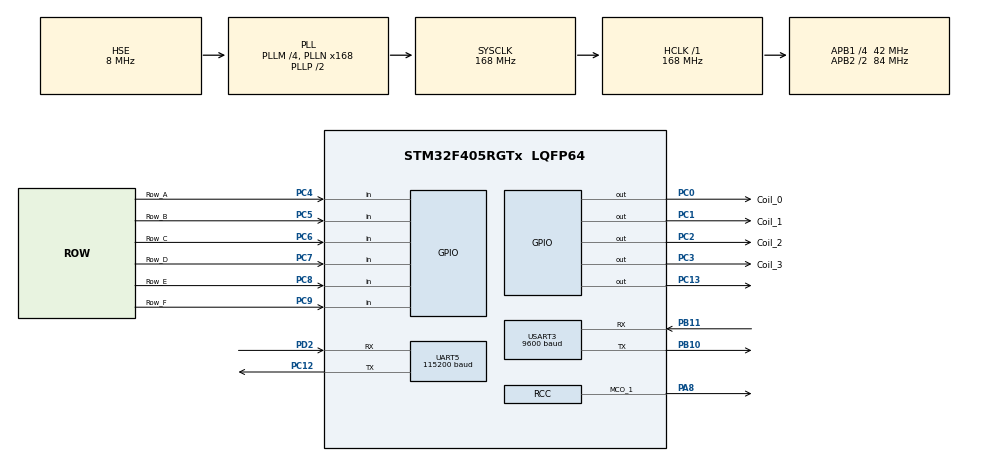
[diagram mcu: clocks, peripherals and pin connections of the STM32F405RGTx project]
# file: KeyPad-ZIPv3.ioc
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FREERTOS.Tasks01=defaultTask,24,128,StartDefaultTask,Default,NULL,Dynamic,NULL,NULL;myLamp,24,128,StartLamp,Default,NULL,Dynamic,NULL,NULL;myBtnScan,24,128,StartBtnScan,Default,NULL,Dynamic,NULL,NULL
Mcu.Family=STM32F4
Mcu.Name=STM32F405RGTx
Mcu.Package=LQFP64
NVIC.PriorityGroup=NVIC_PRIORITYGROUP_4
NVIC.TIM2_IRQn=true\:15\:0\:false\:false\:true\:false\:false\:true\:true
NVIC.TIM3_IRQn=true\:5\:0\:false\:false\:true\:true\:true\:true\:true
NVIC.TIM5_IRQn=true\:5\:0\:false\:false\:true\:true\:true\:true\:true
NVIC.TimeBase=TIM2_IRQn
NVIC.TimeBaseIP=TIM2
NVIC.UART5_IRQn=true\:5\:0\:false\:false\:true\:true\:true\:true\:true
PA8.Mode=Clock-out-1
PA8.Signal=RCC_MCO_1
PB10.Mode=Asynchronous
PB10.Signal=USART3_TX
PB11.Mode=Asynchronous
PB11.Signal=USART3_RX
PC0.GPIO_Label=Coil_0
PC0.GPIO_Speed=GPIO_SPEED_FREQ_MEDIUM
PC0.Signal=GPIO_Output
PC1.GPIO_Label=Coil_1
PC1.GPIO_Speed=GPIO_SPEED_FREQ_MEDIUM
PC1.Signal=GPIO_Output
PC12.Mode=Asynchronous
PC12.Signal=UART5_TX
PC13-ANTI_TAMP.GPIO_ModeDefaultOutputPP=GPIO_MODE_OUTPUT_PP
PC13-ANTI_TAMP.GPIO_Speed=GPIO_SPEED_FREQ_LOW
PC13-ANTI_TAMP.PinState=GPIO_PIN_RESET
PC13-ANTI_TAMP.Signal=GPIO_Output
PC2.GPIO_Label=Coil_2
PC2.GPIO_Speed=GPIO_SPEED_FREQ_MEDIUM
PC2.Signal=GPIO_Output
PC3.GPIO_Label=Coil_3
PC3.GPIO_Speed=GPIO_SPEED_FREQ_MEDIUM
PC3.Signal=GPIO_Output
PC4.GPIO_Label=Row_A
PC4.GPIO_PuPd=GPIO_PULLDOWN
PC4.Signal=GPIO_Input
PC5.GPIO_Label=Row_B
PC5.GPIO_PuPd=GPIO_PULLDOWN
PC5.Signal=GPIO_Input
PC6.GPIO_Label=Row_C
PC6.GPIO_PuPd=GPIO_PULLDOWN
PC6.Signal=GPIO_Input
PC7.GPIO_Label=Row_D
PC7.GPIO_PuPd=GPIO_PULLDOWN
PC7.Signal=GPIO_Input
PC8.GPIO_Label=Row_E
PC8.GPIO_PuPd=GPIO_PULLDOWN
PC8.Signal=GPIO_Input
PC9.GPIO_Label=Row_F
PC9.GPIO_PuPd=GPIO_PULLDOWN
PC9.Signal=GPIO_Input
PD2.Mode=Asynchronous
PD2.Signal=UART5_RX
PH0-OSC_IN.Mode=HSE-External-Oscillator
PH0-OSC_IN.Signal=RCC_OSC_IN
PH1-OSC_OUT.Mode=HSE-External-Oscillator
PH1-OSC_OUT.Signal=RCC_OSC_OUT
ProjectManager.HeapSize=0x200
ProjectManager.StackSize=0x400
ProjectManager.TargetToolchain=Makefile
RCC.48MHZClocksFreq_Value=84000000
RCC.AHBFreq_Value=168000000
RCC.APB1CLKDivider=RCC_HCLK_DIV4
RCC.APB1Freq_Value=42000000
RCC.APB1TimFreq_Value=84000000
RCC.APB2CLKDivider=RCC_HCLK_DIV2
RCC.APB2Freq_Value=84000000
RCC.APB2TimFreq_Value=168000000
RCC.CortexFreq_Value=168000000
RCC.HCLKFreq_Value=168000000
RCC.HSE_VALUE=8000000
RCC.HSI_VALUE=16000000
RCC.LSE_VALUE=32768
RCC.PLLM=4
RCC.PLLN=168
RCC.PLLSourceVirtual=RCC_PLLSOURCE_HSE
RCC.RCC_MCO1Source=RCC_MCO1SOURCE_HSE
RCC.RCC_MCODiv1=RCC_MCODIV_4
RCC.SYSCLKFreq_VALUE=168000000
RCC.SYSCLKSource=RCC_SYSCLKSOURCE_PLLCLK
RCC.VCOOutputFreq_Value=336000000
TIM3.Period=50000
TIM3.Prescaler=1679
TIM5.Period=1000
TIM5.Prescaler=1679
UART5.BaudRate=115200
UART5.VirtualMode=Asynchronous
USART3.BaudRate=9600
USART3.VirtualMode=VM_ASYNC
VP_FREERTOS_VS_CMSIS_V2.Mode=CMSIS_V2
VP_SYS_VS_tim2.Mode=TIM2
VP_TIM3_VS_ClockSourceINT.Mode=Internal
VP_TIM5_VS_ClockSourceINT.Mode=Internal
board=custom

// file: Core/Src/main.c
/* USER CODE BEGIN Header */
/**
  ******************************************************************************
  * @file           : main.c
  * @brief          : Main program body
  ******************************************************************************
  * @attention
  *
  * Copyright (c) 2024 STMicroelectronics.
  * All rights reserved.
  *
  * This software is licensed under terms that can be found in the LICENSE file
  * in the root directory of this software component.
  * If no LICENSE file comes with this software, it is provided AS-IS.
  *
  ******************************************************************************
  */
/* USER CODE END Header */
#include "main.h"
#include <stdbool.h>
#include <stdio.h>
#include "cmsis_os.h"
#include "DWIN_menu_logic.c"

/* USER CODE BEGIN PD */
// KeyPad-ZIP user LED (PC13)
#define LED_PORT    GPIOC
#define LED_PIN     GPIO_PIN_13
// Rows defines
#define ROWS_PORT   GPIOC
#define ROWS_PINS   6
//#define ROW_A_PIN   GPIO_PIN_4
//#define ROW_B_PIN   GPIO_PIN_5
//#define ROW_C_PIN   GPIO_PIN_6
//#define ROW_D_PIN   GPIO_PIN_7
//#define ROW_E_PIN   GPIO_PIN_8
//#define ROW_F_PIN   GPIO_PIN_9
// Columns defines
#define COLS_PORT   GPIOC
#define COLS_PINS   4
//#define COL1_PIN    GPIO_PIN_0
//#define COL2_PIN    GPIO_PIN_1
//#define COL3_PIN    GPIO_PIN_2
//#define COL4_PIN    GPIO_PIN_3

#define LED_PORT_CLK_ENABLE   __HAL_RCC_GPIOC_CLK_ENABLE
#define ROWS_PORT_CLK_ENABLE  __HAL_RCC_GPIOC_CLK_ENABLE
#define COLS_PORT_CLK_ENABLE  __HAL_RCC_GPIOC_CLK_ENABLE
#define LED_CLK_TICKS   500 //BIG LAMP Togle pin timeout in milliseconds

#define PROGRAM_LOG_LEVEL_NO  0
#define PROGRAM_LOG_LEVEL_MED 1
#define PROGRAM_LOG_LEVEL_MAX 2
const uint8_t currentLogLevel = 0;

// Keypad Dimension
const uint8_t ROWS = ROWS_PINS; // Realy I need this? :))
const uint8_t COLS = COLS_PINS; // Realy I need this? :))
const uint8_t KeyPushedErrorTicksCount = 3; // contact error ticks counter (must be 2 .. 255)
const uint8_t KeypadScanPeriod = 10; // Period of Keypad Scaning (in miliseconds)

volatile uint8_t counterCOLS  = 0;
volatile uint8_t PinSCode     = 0;    // Pin Pad Scan Code
// Cycles counter for each key
volatile uint8_t CountKeys[ROWS_PINS][COLS_PINS] = {{0, 0, 0, 0}, {0, 0, 0, 0}, {0, 0, 0, 0}, {0, 0, 0, 0}, {0, 0, 0, 0}, {0, 0, 0, 0}};

// Scan (char) codes array
const char ScanKeys[ROWS_PINS][COLS_PINS] = {
  { '#', '9', '6', '3' },
  { '0', '8', '5', '2' },
  { '*', '7', '4', '1' },
  { 'R', 'q', 'U', 'D' },
  { 'Q', 'L', 'e', 'd' },
  { 'c', 'b', 'a', 'd' }
};
// just scanned Key
char Key_Pushed ='.';
bool Key_Obtained = true;
bool Mode_Measuring = false;
bool Mode_Measuring_AUTO = true;

/* for DWIN
#define REQUEST_FRAME_BUFFER 7
#define WRITE_FRAME_BUFFER 8
#define READ_FRAME_BUFFER_DEFAULT 9
*/

/* USER CODE END PD */

TIM_HandleTypeDef htim3;
TIM_HandleTypeDef htim5;

UART_HandleTypeDef huart5;
UART_HandleTypeDef huart3;

/* Definitions for defaultTask */
osThreadId_t defaultTaskHandle;
const osThreadAttr_t defaultTask_attributes = {
  .name = "defaultTask",
  .stack_size = 128 * 4,
  .priority = (osPriority_t) osPriorityNormal,
};
/* Definitions for myLamp */
osThreadId_t myLampHandle;
const osThreadAttr_t myLamp_attributes = {
  .name = "myLamp",
  .stack_size = 128 * 4,
  .priority = (osPriority_t) osPriorityNormal,
};
/* Definitions for myBtnScan */
osThreadId_t myBtnScanHandle;
const osThreadAttr_t myBtnScan_attributes = {
  .name = "myBtnScan",
  .stack_size = 128 * 4,
  .priority = (osPriority_t) osPriorityNormal,
};

void SystemClock_Config(void);
static void MX_GPIO_Init(void);
static void MX_USART3_UART_Init(void);
static void MX_UART5_Init(void);
static void MX_TIM3_Init(void);
static void MX_TIM5_Init(void);
void StartDefaultTask(void *argument);
void StartLamp(void *argument);
void StartBtnScan(void *argument);

/* USER CODE BEGIN PFP */
void KeyPad_Init(void);
void TimerCallScan (void);
void ReadRows (uint8_t ColIndex);
void DeCodePushedRow (uint8_t PushedRow, uint8_t Col);
void DeCodeReleasedRow (uint8_t ReleasedRow, uint8_t Col);

// void DWIN_setPage(uint8_t pageID);
// uint8_t DWIN_getPage();

/* USER CODE END PFP */

int main(void)
{
  /* USER CODE BEGIN 1 */
  uint8_t frame8[WRITE_FRAME_BUFFER] = { 0x5A, 0xA5, 0x05, 0x82, 0x50, 0x01, 0x00, 0x00};
  uint8_t frame8_length = WRITE_FRAME_BUFFER;
  uint8_t REQ_frame[REQUEST_FRAME_BUFFER] = { 0x5A, 0xA5, 0x04, 0x83, 0x51, 0x03, 0x01};
  uint8_t REQ_frame_length = REQUEST_FRAME_BUFFER;
  uint8_t READ_frame[READ_FRAME_BUFFER_DEFAULT] = { 0, 0, 0, 0, 0x00, 0x00, 0, 0x00, 0x00};
  uint8_t READ_frame_length = READ_FRAME_BUFFER_DEFAULT;
  //const uint16_t DWIN_Slider = 0x5103;
  //REQ_frame[4] = DWIN_Slider;
  /* USER CODE END 1 */

  /* MCU Configuration--------------------------------------------------------*/

  /* Reset of all peripherals, Initializes the Flash interface and the Systick. */
  HAL_Init();

  /* Configure the system clock */
  SystemClock_Config();

  /* Initialize all configured peripherals */
  MX_GPIO_Init();
  MX_USART3_UART_Init();
  MX_UART5_Init();
  MX_TIM3_Init();
  MX_TIM5_Init();
  /* USER CODE BEGIN 2 */
  //HAL_GPIO_TogglePin(LED_PORT, LED_PIN);
  HAL_TIM_Base_Start_IT(&htim3);
  KeyPad_Init();

  HAL_UART_Transmit(&huart5, (uint8_t*)frame8, frame8_length, 100);
  HAL_Delay(1000);

  printf("Hello, %s!\n", "KeyPad");
  HAL_Delay(100);
  printf("For messages we using, %s\n", "USART3");
  HAL_Delay(2000);
  DWIN_Menu_Logic_InitProcedure();

  /* USER CODE END 2 */

  /* Init scheduler */
  osKernelInitialize();

  /* Create the thread(s) */
  /* creation of defaultTask */
  defaultTaskHandle = osThreadNew(StartDefaultTask, NULL, &defaultTask_attributes);

  /* creation of myLamp */
  myLampHandle = osThreadNew(StartLamp, NULL, &myLamp_attributes);

  /* creation of myBtnScan */
  myBtnScanHandle = osThreadNew(StartBtnScan, NULL, &myBtnScan_attributes);

  /* Start scheduler */
  osKernelStart();

  /* We should never get here as control is now taken by the scheduler */
  /* Infinite loop */
  while (1)
  {

  }
}

void SystemClock_Config(void)
{
  RCC_OscInitTypeDef RCC_OscInitStruct = {0};
  RCC_ClkInitTypeDef RCC_ClkInitStruct = {0};

  /** Configure the main internal regulator output voltage
  */
  __HAL_RCC_PWR_CLK_ENABLE();
  __HAL_PWR_VOLTAGESCALING_CONFIG(PWR_REGULATOR_VOLTAGE_SCALE1);

  /** Initializes the RCC Oscillators according to the specified parameters
  * in the RCC_OscInitTypeDef structure.
  */
  RCC_OscInitStruct.OscillatorType = RCC_OSCILLATORTYPE_HSE;
  RCC_OscInitStruct.HSEState = RCC_HSE_ON;
  RCC_OscInitStruct.PLL.PLLState = RCC_PLL_ON;
  RCC_OscInitStruct.PLL.PLLSource = RCC_PLLSOURCE_HSE;
  RCC_OscInitStruct.PLL.PLLM = 4;
  RCC_OscInitStruct.PLL.PLLN = 168;
  RCC_OscInitStruct.PLL.PLLP = RCC_PLLP_DIV2;
  RCC_OscInitStruct.PLL.PLLQ = 4;
  if (HAL_RCC_OscConfig(&RCC_OscInitStruct) != HAL_OK)
  {
    Error_Handler();
  }

  /** Initializes the CPU, AHB and APB buses clocks
  */
  RCC_ClkInitStruct.ClockType = RCC_CLOCKTYPE_HCLK|RCC_CLOCKTYPE_SYSCLK
                              |RCC_CLOCKTYPE_PCLK1|RCC_CLOCKTYPE_PCLK2;
  RCC_ClkInitStruct.SYSCLKSource = RCC_SYSCLKSOURCE_PLLCLK;
  RCC_ClkInitStruct.AHBCLKDivider = RCC_SYSCLK_DIV1;
  RCC_ClkInitStruct.APB1CLKDivider = RCC_HCLK_DIV4;
  RCC_ClkInitStruct.APB2CLKDivider = RCC_HCLK_DIV2;

  if (HAL_RCC_ClockConfig(&RCC_ClkInitStruct, FLASH_LATENCY_5) != HAL_OK)
  {
    Error_Handler();
  }
  HAL_RCC_MCOConfig(RCC_MCO1, RCC_MCO1SOURCE_HSE, RCC_MCODIV_4);
}

static void MX_TIM3_Init(void)
{

  TIM_ClockConfigTypeDef sClockSourceConfig = {0};
  TIM_MasterConfigTypeDef sMasterConfig = {0};

  htim3.Instance = TIM3;
  htim3.Init.Prescaler = 1679;
  htim3.Init.CounterMode = TIM_COUNTERMODE_UP;
  htim3.Init.Period = 50000;
  htim3.Init.ClockDivision = TIM_CLOCKDIVISION_DIV1;
  htim3.Init.AutoReloadPreload = TIM_AUTORELOAD_PRELOAD_DISABLE;
  if (HAL_TIM_Base_Init(&htim3) != HAL_OK)
  {
    Error_Handler();
  }
  sClockSourceConfig.ClockSource = TIM_CLOCKSOURCE_INTERNAL;
  if (HAL_TIM_ConfigClockSource(&htim3, &sClockSourceConfig) != HAL_OK)
  {
    Error_Handler();
  }
  sMasterConfig.MasterOutputTrigger = TIM_TRGO_RESET;
  sMasterConfig.MasterSlaveMode = TIM_MASTERSLAVEMODE_DISABLE;
  if (HAL_TIMEx_MasterConfigSynchronization(&htim3, &sMasterConfig) != HAL_OK)
  {
    Error_Handler();
  }

}

static void MX_TIM5_Init(void)
{

  TIM_ClockConfigTypeDef sClockSourceConfig = {0};
  TIM_MasterConfigTypeDef sMasterConfig = {0};

  htim5.Instance = TIM5;
  htim5.Init.Prescaler = 1679;
  htim5.Init.CounterMode = TIM_COUNTERMODE_UP;
  htim5.Init.Period = 1000;
  htim5.Init.ClockDivision = TIM_CLOCKDIVISION_DIV1;
  htim5.Init.AutoReloadPreload = TIM_AUTORELOAD_PRELOAD_DISABLE;
  if (HAL_TIM_Base_Init(&htim5) != HAL_OK)
  {
    Error_Handler();
  }
  sClockSourceConfig.ClockSource = TIM_CLOCKSOURCE_INTERNAL;
  if (HAL_TIM_ConfigClockSource(&htim5, &sClockSourceConfig) != HAL_OK)
  {
    Error_Handler();
  }
  sMasterConfig.MasterOutputTrigger = TIM_TRGO_RESET;
  sMasterConfig.MasterSlaveMode = TIM_MASTERSLAVEMODE_DISABLE;
  if (HAL_TIMEx_MasterConfigSynchronization(&htim5, &sMasterConfig) != HAL_OK)
  {
    Error_Handler();
  }

}

static void MX_UART5_Init(void)
{

  huart5.Instance = UART5;
  huart5.Init.BaudRate = 115200;
  huart5.Init.WordLength = UART_WORDLENGTH_8B;
  huart5.Init.StopBits = UART_STOPBITS_1;
  huart5.Init.Parity = UART_PARITY_NONE;
  huart5.Init.Mode = UART_MODE_TX_RX;
  huart5.Init.HwFlowCtl = UART_HWCONTROL_NONE;
  huart5.Init.OverSampling = UART_OVERSAMPLING_16;
  if (HAL_UART_Init(&huart5) != HAL_OK)
  {
    Error_Handler();
  }

}

static void MX_USART3_UART_Init(void)
{

  huart3.Instance = USART3;
  huart3.Init.BaudRate = 9600;
  huart3.Init.WordLength = UART_WORDLENGTH_8B;
  huart3.Init.StopBits = UART_STOPBITS_1;
  huart3.Init.Parity = UART_PARITY_NONE;
  huart3.Init.Mode = UART_MODE_TX_RX;
  huart3.Init.HwFlowCtl = UART_HWCONTROL_NONE;
  huart3.Init.OverSampling = UART_OVERSAMPLING_16;
  if (HAL_UART_Init(&huart3) != HAL_OK)
  {
    Error_Handler();
  }

}

static void MX_GPIO_Init(void)
{
  GPIO_InitTypeDef GPIO_InitStruct = {0};

  /* GPIO Ports Clock Enable */
  __HAL_RCC_GPIOC_CLK_ENABLE();
  __HAL_RCC_GPIOH_CLK_ENABLE();
  __HAL_RCC_GPIOB_CLK_ENABLE();
  __HAL_RCC_GPIOA_CLK_ENABLE();
  __HAL_RCC_GPIOD_CLK_ENABLE();

  /*Configure GPIO pin Output Level */
  HAL_GPIO_WritePin(GPIOC, GPIO_PIN_13|Coil_0_Pin|Coil_1_Pin|Coil_2_Pin
                          |Coil_3_Pin, GPIO_PIN_RESET);

  /*Configure GPIO pin : PC13 */
  GPIO_InitStruct.Pin = GPIO_PIN_13;
  GPIO_InitStruct.Mode = GPIO_MODE_OUTPUT_PP;
  GPIO_InitStruct.Pull = GPIO_NOPULL;
  GPIO_InitStruct.Speed = GPIO_SPEED_FREQ_LOW;
  HAL_GPIO_Init(GPIOC, &GPIO_InitStruct);

  /*Configure GPIO pins : Coil_0_Pin Coil_1_Pin Coil_2_Pin Coil_3_Pin */
  GPIO_InitStruct.Pin = Coil_0_Pin|Coil_1_Pin|Coil_2_Pin|Coil_3_Pin;
  GPIO_InitStruct.Mode = GPIO_MODE_OUTPUT_PP;
  GPIO_InitStruct.Pull = GPIO_NOPULL;
  GPIO_InitStruct.Speed = GPIO_SPEED_FREQ_MEDIUM;
  HAL_GPIO_Init(GPIOC, &GPIO_InitStruct);

  /*Configure GPIO pins : Row_A_Pin Row_B_Pin Row_C_Pin Row_D_Pin
                           Row_E_Pin Row_F_Pin */
  GPIO_InitStruct.Pin = Row_A_Pin|Row_B_Pin|Row_C_Pin|Row_D_Pin
                          |Row_E_Pin|Row_F_Pin;
  GPIO_InitStruct.Mode = GPIO_MODE_INPUT;
  GPIO_InitStruct.Pull = GPIO_PULLDOWN;
  HAL_GPIO_Init(GPIOC, &GPIO_InitStruct);

  /*Configure GPIO pin : PA8 */
  GPIO_InitStruct.Pin = GPIO_PIN_8;
  GPIO_InitStruct.Mode = GPIO_MODE_AF_PP;
  GPIO_InitStruct.Pull = GPIO_NOPULL;
  GPIO_InitStruct.Speed = GPIO_SPEED_FREQ_LOW;
  GPIO_InitStruct.Alternate = GPIO_AF0_MCO;
  HAL_GPIO_Init(GPIOA, &GPIO_InitStruct);

}

/* USER CODE BEGIN 4 */

void DeCodePushedRow (uint8_t PushedRow, uint8_t Col){
  if (CountKeys[PushedRow][Col] < KeyPushedErrorTicksCount){
    // We desided that this key is pushed enough
//    printf("Pushed Pin on Col:%u, Row:%u, Value:%c\n", Col, PushedRow, ScanKeys[PushedRow][Col]);
    CountKeys[PushedRow][Col]++;
  };
}

void DeCodeReleasedRow (uint8_t ReleasedRow, uint8_t Col){
  if (CountKeys[ReleasedRow][Col] >= KeyPushedErrorTicksCount){
    Key_Pushed = ScanKeys[ReleasedRow][Col];
    Key_Obtained = false;
    switch (currentLogLevel)
    {
    case PROGRAM_LOG_LEVEL_MED:
      printf("Pushed '%c'.\n", ScanKeys[ReleasedRow][Col]);
      osDelay(20);
      break;
    case PROGRAM_LOG_LEVEL_MAX:
      printf("Pushed '%c' on Col:%u, Row:%u.\n", ScanKeys[ReleasedRow][Col], Col, ReleasedRow);
      osDelay(70);
      break;
    default:
      break;
    }
  };
  CountKeys[ReleasedRow][Col]=0;
}

void ReadRows (uint8_t ColIndex){

  // Read ALL Rows and check for pushed or relased condition
  if( HAL_GPIO_ReadPin(ROWS_PORT, Row_A_Pin) == GPIO_PIN_SET ){
    DeCodePushedRow(0,ColIndex);
  } else DeCodeReleasedRow(0,ColIndex);
  if( HAL_GPIO_ReadPin(ROWS_PORT, Row_B_Pin) == GPIO_PIN_SET ){
    DeCodePushedRow(1,ColIndex);
  } else DeCodeReleasedRow(1,ColIndex);
  if( HAL_GPIO_ReadPin(ROWS_PORT, Row_C_Pin) == GPIO_PIN_SET ){
    DeCodePushedRow(2,ColIndex);
  } else DeCodeReleasedRow(2,ColIndex);
  if( HAL_GPIO_ReadPin(ROWS_PORT, Row_D_Pin) == GPIO_PIN_SET ){
    DeCodePushedRow(3,ColIndex);
  } else DeCodeReleasedRow(3,ColIndex);
  if( HAL_GPIO_ReadPin(ROWS_PORT, Row_E_Pin) == GPIO_PIN_SET ){
    DeCodePushedRow(4,ColIndex);
  } else DeCodeReleasedRow(4,ColIndex);
  if( HAL_GPIO_ReadPin(ROWS_PORT, Row_F_Pin) == GPIO_PIN_SET ){
    DeCodePushedRow(5,ColIndex);
  } else DeCodeReleasedRow(5,ColIndex);
}

void TimerCallScan (void){

  // GPIO_PinState  ReadedState = GPIO_PIN_RESET;
  HAL_GPIO_WritePin(COLS_PORT, Coil_0_Pin|Coil_1_Pin|Coil_2_Pin|Coil_3_Pin, GPIO_PIN_RESET); // Pins reset
  switch (counterCOLS % COLS_PINS)
  {
    case 0:
      HAL_GPIO_WritePin(COLS_PORT, Coil_0_Pin, GPIO_PIN_SET);
      ReadRows(0);
      break;
    case 1:
      HAL_GPIO_WritePin(COLS_PORT, Coil_1_Pin, GPIO_PIN_SET);
      ReadRows(1);
      break;
    case 2:
      HAL_GPIO_WritePin(COLS_PORT, Coil_2_Pin, GPIO_PIN_SET);
      ReadRows(2);
      break;
    case 3:
      HAL_GPIO_WritePin(COLS_PORT, Coil_3_Pin, GPIO_PIN_SET);
      ReadRows(3);
      break;
    default:
      if (currentLogLevel!=PROGRAM_LOG_LEVEL_NO){
        printf("Wrong Counter pins! \n");
        osDelay(50);
      }
  };
  counterCOLS++;
}

void KeyPad_Init(void){
  uint8_t i,j;
  //                                   Array must be zero inited
  for ( i=0 ; i <= ROWS ; i++  ){
      for ( j=0 ; j <= COLS ; j++ ){
      CountKeys[i][j]=0;
    }
  }
}

// The following makes printf() write to USART3:
#define STDOUT_FILENO   1
#define STDERR_FILENO   2

int _write(int file, uint8_t *ptr, int len)
{
  switch (file)
  {
    case STDOUT_FILENO:
      HAL_UART_Transmit(&huart3, ptr, len, HAL_MAX_DELAY);
      break;

    case STDERR_FILENO:
      HAL_UART_Transmit(&huart3, ptr, len, HAL_MAX_DELAY);
      break;

    default:
      return -1;
  }

  return len;
}

// DWIN functions section

// Change Page
/*
void DWIN_setPage(uint8_t page){
    //5A A5 07 82 00 84 5a 01 00 02
    uint8_t sendBuffer[] = {CMD_HEAD1, CMD_HEAD2, 0x07, CMD_WRITE, 0x00, 0x84, 0x5A, 0x01, 0x00, page};
    HAL_UART_Transmit(&huart5, (uint8_t*)sendBuffer, sizeof(sendBuffer), CMD_SEND_TIMEOUT);
    //readDWIN();
} */

// Get Current Page ID
/*
uint8_t DWIN_getPage(){
    uint8_t sendBuffer[] = {CMD_HEAD1, CMD_HEAD2, 0x04, CMD_READ, 0x00 , 0x14, 0x01};
    HAL_UART_Transmit(&huart5, (uint8_t*)sendBuffer, sizeof(sendBuffer), CMD_SEND_TIMEOUT);
    //return readCMDLastByte();
    return 0;
}*/

/* USER CODE END 4 */

void StartDefaultTask(void *argument)
{
  /* USER CODE BEGIN 5 */
  uint8_t tmpSelectedMenuItemNumber;
  /* Infinite loop */
  for(;;)
  {
    if (!Key_Obtained){
      switch (Key_Pushed)
      {
      case '0':
      case '1':
      case '2':
      case '3':
      case '4':
      case '5':
      case '6':
      case '7':
          tmpSelectedMenuItemNumber = (uint8_t)(Key_Pushed-'0');
          //printf("main: Try switch to %d page\n", tmpSelectedMenuItemNumber);
          MenuItemSwitch((MenuItem)tmpSelectedMenuItemNumber);
          osDelay(50);
          ///DWIN_setPage(tmpSelectedMenuItemNumber);
        break;
      default:
          printf("No key trap\n");
          osDelay(20);
        break;
      }
      Key_Obtained = true;
    };
    osDelay(100);
  }
  /* USER CODE END 5 */
}

void StartLamp(void *argument)
{
  /* USER CODE BEGIN StartLamp */
  /* Infinite loop */
  for(;;)
  {
    HAL_GPIO_TogglePin(LED_PORT, LED_PIN);
    osDelay(LED_CLK_TICKS);
  }
  /* USER CODE END StartLamp */
}

void StartBtnScan(void *argument)
{
  /* USER CODE BEGIN StartBtnScan */
  /* Infinite loop */
  for(;;)
  {
    TimerCallScan();
    osDelay(10);
  }
  /* USER CODE END StartBtnScan */
}

void HAL_TIM_PeriodElapsedCallback(TIM_HandleTypeDef *htim)
{
  if (htim->Instance == TIM2) {
    HAL_IncTick();
  }
    if(htim->Instance == TIM3) //check if the interrupt comes from TIM3
  {
 //   HAL_GPIO_TogglePin(LED_PORT, LED_PIN);
//    TimerCallScan ();
  };
  if(htim->Instance == TIM5) //check if the interrupt comes from TIM5
  {
    HAL_GPIO_TogglePin(LED_PORT, LED_PIN);
  //  TimerCallScan ();
  }
}

void Error_Handler(void)
{
  __disable_irq();
  while (1)
  {
  }
}
